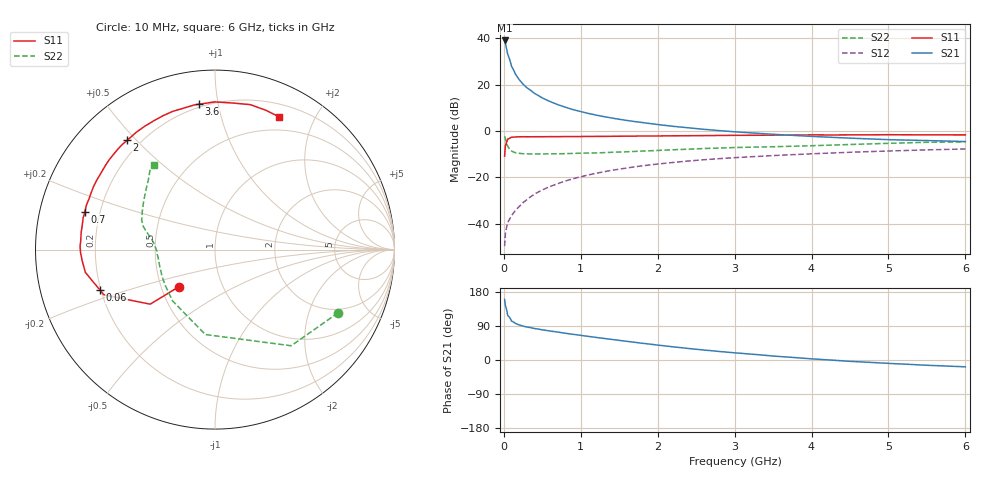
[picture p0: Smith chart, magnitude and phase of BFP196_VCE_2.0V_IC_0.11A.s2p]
! Infineon Technologies  Discrete & RF Semiconductors
! BFP196
! VCE =  2.0 V,  IC = 0.11 A
! Common Emitter S-Parameters:  Jan 2017
# GHz  S  MA  R  50
!  f  S11  S21  S12  S22
! GHz  MAG  ANG  MAG  ANG  MAG  ANG  MAG  ANG
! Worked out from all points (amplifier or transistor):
!   77 points, 10 MHz to 6 GHz, reference 50 ohm
!   highest |S21| = 39.0 dB at 10 MHz (marker M1)
!   |S21| within 3 dB of that: start of sweep to 32.13 MHz
!   unconditionally stable (mu >= 1): 259.4 MHz to 2.771 GHz
!   at 130 MHz: K = 0.84, MSG = 30.6 dB, |S12| = -35.1 dB
!   at 2.2 GHz: K = 1.02, MAG = 6.9 dB, |S12| = -13.6 dB
!   at 6 GHz: K = 0.99, MSG = 1.6 dB, |S12| = -7.7 dB
!   S11 on the Smith chart (normalised r, x): 10 MHz: 0.62, -0.28; 60 MHz: 0.20, -0.17; 700 MHz: 0.14, +0.14; 2 GHz: 0.15, +0.47; 3.6 GHz: 0.18, +0.88; 6 GHz: 0.34, +1.54
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0.01  0.2883 -134.2  89.07 159.8  0.0033 71.0  0.7709 -27.2
0.02  0.472 -139.9  77.53 143.4  0.0061 63.1  0.6836 -51.6
0.05  0.6682 -157.9  45.22 117.4  0.0105 50.2  0.4763 -96.5
0.06  0.6787 -160.5  41 115.6  0.0114 52.4  0.445 -101.7
0.1  0.7333 -170.0  24.82 102.7  0.0149 58.5  0.3709 -129.6
0.15  0.7428 -175.3  16.86 96.6  0.0194 62.5  0.3409 -144.8
0.2  0.7491 -178.7  12.72 92.5  0.0236 67.2  0.3303 -153.5
0.25  0.7521 178.6  10.21 89.4  0.0287 68.5  0.3239 -159.1
0.3  0.7498 176.5  8.52 87.1  0.0331 70.1  0.3216 -163.4
0.4  0.7517 172.8  6.425 83.0  0.0438 71.4  0.3199 -168.6
0.5  0.752 169.4  5.143 79.6  0.0537 71.1  0.3198 -172.1
0.7  0.7548 163.9  3.698 73.7  0.0731 70.4  0.3225 -177.3
0.9  0.7567 158.0  2.885 67.8  0.0936 68.0  0.3284 179.6
1.1  0.7624 152.6  2.388 62.3  0.1131 65.8  0.3343 176.5
1.5  0.7703 142.0  1.784 51.8  0.1503 59.9  0.352 171.9
2  0.781 128.8  1.377 39.3  0.1939 52.2  0.3806 167.3
2.1  0.7834 126.3  1.317 37.1  0.2017 50.6  0.3872 166.3
3.1  0.8055 105.2  0.936 17.4  0.2716 36.0  0.4431 157.0
3.6  0.8149 96.4  0.831 9.0  0.3003 29.6  0.4621 150.8
4.1  0.8219 88.6  0.751 1.8  0.3273 23.3  0.487 144.0
5.1  0.8294 75.0  0.644 -9.9  0.3746 11.4  0.5472 132.3
6  0.8217 64.3  0.592 -18.1  0.41 1.4  0.5808 125.9
